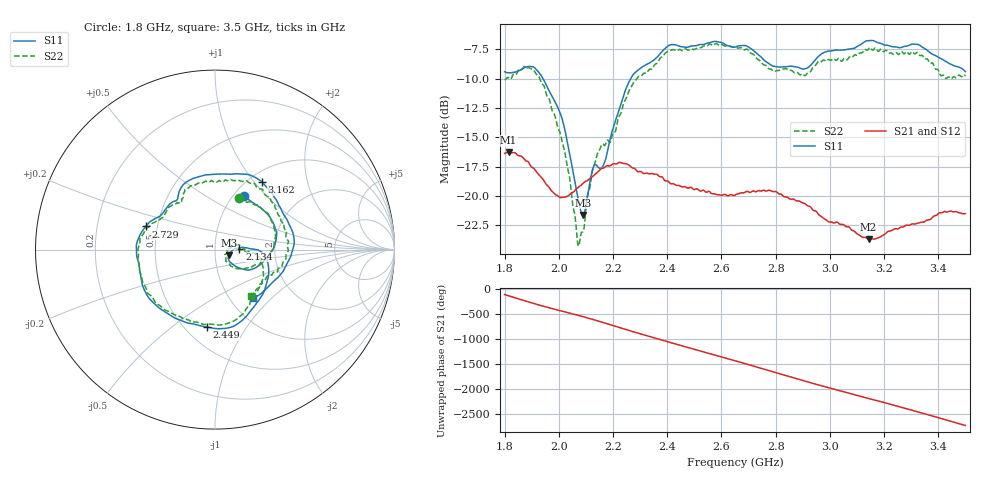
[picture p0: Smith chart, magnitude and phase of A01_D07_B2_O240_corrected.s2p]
! Created with skrf 1.9.0 (http://scikit-rf.org).
# Hz S RI R 50.0
!freq ReS11 ImS11 ReS21 ImS21 ReS12 ImS12 ReS22 ImS22
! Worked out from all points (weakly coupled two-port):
!   1601 points, 1.8 GHz to 3.5 GHz, reference 50 ohm
!   highest |S21| = -16.26 dB at 1.815 GHz (marker M1); lowest = -23.7 dB at 3.143 GHz (marker M2)
!   lowest |S11| = -21.6 dB at 2.089 GHz (marker M3), VSWR 1.18, Z = 58.2 - j3.61 ohm
!   |S11| at or under -10 dB: 1.942 GHz to 2.265 GHz (322.3 MHz wide, 15.3 % of centre)
!   |S22| runs from -24.3 to -7.0 dB; largest |S21 - S12| = 0.003
!   S11 on the Smith chart (normalised r, x): 1.8 GHz: 1.12, +0.75; 2.134 GHz: 1.31, +0.01; 2.449 GHz: 0.63, -0.67; 2.729 GHz: 0.43, +0.13; 3.162 GHz: 1.15, +1.10; 3.5 GHz: 1.27, -0.77
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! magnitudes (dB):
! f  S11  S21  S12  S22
! 1.8 GHz  -9.4  -16.4  -16.4  -10.0
! 1.815 GHz  -9.5  -16.3  -16.3  -9.9
! 1.88 GHz  -9.0  -17.0  -17.0  -9.0
! 1.943 GHz  -10.0  -18.6  -18.6  -10.5
! 2.014 GHz  -13.5  -20.1  -20.1  -15.5
! 2.069 GHz  -19.9  -19.3  -19.3  -23.9
! 2.084 GHz  -21.4  -19.1  -19.0  -23.1
! 2.089 GHz  -21.6  -18.9  -19.0  -23.1
! 2.134 GHz  -17.3  -18.1  -18.1  -17.1
! 2.167 GHz  -17.2  -17.6  -17.6  -15.7
! 2.268 GHz  -9.9  -17.5  -17.5  -10.7
! 2.367 GHz  -8.0  -18.3  -18.2  -8.5
! 2.449 GHz  -7.3  -19.2  -19.2  -7.5
! 2.65 GHz  -7.3  -19.9  -19.9  -7.3
! 2.729 GHz  -7.8  -19.6  -19.7  -8.2
! 2.934 GHz  -8.7  -21.1  -21.1  -9.2
! 3.143 GHz  -6.7  -23.7  -23.6  -7.4
! 3.162 GHz  -6.8  -23.7  -23.6  -7.5
! 3.217 GHz  -7.2  -23.0  -23.0  -7.8
! 3.326 GHz  -7.1  -22.3  -22.3  -7.8
! 3.425 GHz  -8.5  -21.3  -21.3  -9.9
! 3.5 GHz  -9.4  -21.5  -21.5  -9.8
